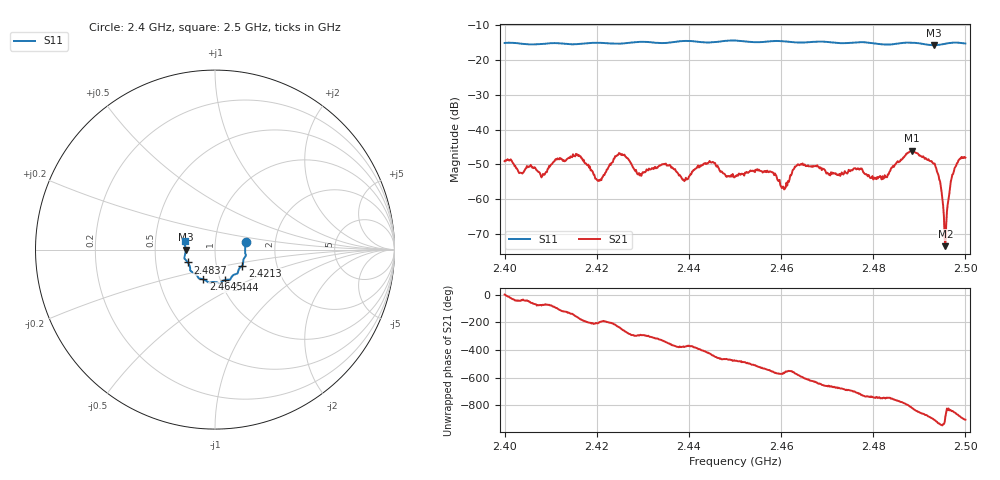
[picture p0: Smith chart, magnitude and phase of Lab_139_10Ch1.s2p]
# Hz S RI R 50
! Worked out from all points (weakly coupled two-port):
!   601 points, 2.4 GHz to 2.5 GHz, reference 50 ohm
!   highest |S21| = -45.99 dB at 2.4883 GHz (marker M1); lowest = -73.5 dB at 2.4957 GHz (marker M2)
!   lowest |S11| = -15.7 dB at 2.4932 GHz (marker M3), VSWR 1.39, Z = 35.9 - j0.056 ohm
!   |S11| at or under -10 dB: start of sweep to end of sweep
!   S12 and S22 are empty: the file has one direction only
!   S11 on the Smith chart (normalised r, x): 2.4 GHz: 1.41, +0.12; 2.4213 GHz: 1.33, -0.25; 2.444 GHz: 1.06, -0.37; 2.4645 GHz: 0.83, -0.29; 2.4837 GHz: 0.73, -0.11; 2.5 GHz: 0.71, +0.07
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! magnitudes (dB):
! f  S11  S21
! 2.4 GHz  -15.1  -49.0
! 2.4083 GHz  -15.4  -52.7
! 2.4167 GHz  -15.3  -48.2
! 2.4213 GHz  -15.1  -53.5
! 2.425 GHz  -15.3  -46.8
! 2.4292 GHz  -14.8  -52.5
! 2.4333 GHz  -15.1  -50.6
! 2.4392 GHz  -14.5  -54.5
! 2.444 GHz  -15.0  -49.7
! 2.45 GHz  -14.4  -53.4
! 2.4575 GHz  -14.6  -52.0
! 2.4605 GHz  -14.6  -56.4
! 2.4645 GHz  -15.0  -50.0
! 2.4667 GHz  -14.8  -50.7
! 2.4833 GHz  -15.6  -52.8
! 2.4837 GHz  -15.5  -51.9
! 2.4883 GHz  -15.0  -46.0
! 2.4932 GHz  -15.7  -49.8
! 2.4943 GHz  -15.6  -54.3
! 2.4957 GHz  -15.3  -73.5
! 2.4973 GHz  -15.0  -52.7
! 2.5 GHz  -15.2  -48.0
